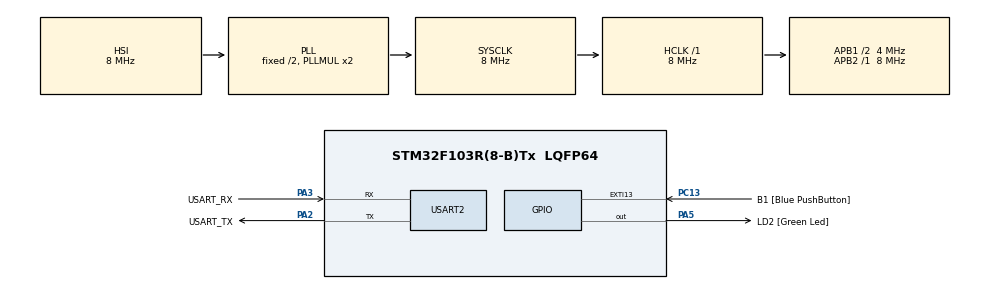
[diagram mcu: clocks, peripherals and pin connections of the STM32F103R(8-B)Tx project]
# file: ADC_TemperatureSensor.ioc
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ADC1.Channel-0\#ChannelRegularConversion=ADC_CHANNEL_TEMPSENSOR
ADC1.ContinuousConvMode=ENABLE
ADC1.NbrOfConversionFlag=1
ADC1.Rank-0\#ChannelRegularConversion=1
ADC1.SamplingTime-0\#ChannelRegularConversion=ADC_SAMPLETIME_13CYCLES_5
ADC1.master=1
Mcu.Family=STM32F1
Mcu.Name=STM32F103R(8-B)Tx
Mcu.Package=LQFP64
NVIC.EXTI15_10_IRQn=true\:0\:0\:false\:false\:true\:true\:true\:true
NVIC.PriorityGroup=NVIC_PRIORITYGROUP_4
PA13.GPIO_Label=TMS
PA13.Mode=Serial_Wire
PA13.Signal=SYS_JTMS-SWDIO
PA14.GPIO_Label=TCK
PA14.Mode=Serial_Wire
PA14.Signal=SYS_JTCK-SWCLK
PA2.GPIO_Label=USART_TX
PA2.GPIO_Mode=GPIO_MODE_AF_PP
PA2.GPIO_PuPd=GPIO_NOPULL
PA2.GPIO_Speed=GPIO_SPEED_FREQ_LOW
PA2.Mode=Asynchronous
PA2.Signal=USART2_TX
PA3.GPIO_Label=USART_RX
PA3.GPIO_Mode=GPIO_MODE_AF_PP
PA3.GPIO_PuPd=GPIO_NOPULL
PA3.GPIO_Speed=GPIO_SPEED_FREQ_LOW
PA3.Mode=Asynchronous
PA3.Signal=USART2_RX
PA5.GPIO_Label=LD2 [Green Led]
PA5.GPIO_ModeDefaultOutputPP=GPIO_MODE_OUTPUT_PP
PA5.GPIO_PuPd=GPIO_NOPULL
PA5.GPIO_Speed=GPIO_SPEED_FREQ_LOW
PA5.Signal=GPIO_Output
PB3.GPIO_Label=SWO
PB3.Signal=SYS_JTDO-TRACESWO
PC13-TAMPER-RTC.GPIO_Label=B1 [Blue PushButton]
PC13-TAMPER-RTC.GPIO_PuPd=GPIO_NOPULL
PC13-TAMPER-RTC.Signal=GPXTI13
PC14-OSC32_IN.Signal=RCC_OSC32_IN
PC15-OSC32_OUT.Signal=RCC_OSC32_OUT
PD0-OSC_IN.Signal=RCC_OSC_IN
PD1-OSC_OUT.Signal=RCC_OSC_OUT
ProjectManager.HeapSize=0x200
ProjectManager.StackSize=0x400
ProjectManager.TargetToolchain=STM32CubeIDE
RCC.AHBFreq_Value=8000000
RCC.APB1CLKDivider=RCC_HCLK_DIV2
RCC.APB1Freq_Value=4000000
RCC.APB1TimFreq_Value=8000000
RCC.APB2Freq_Value=8000000
RCC.APB2TimFreq_Value=8000000
RCC.HCLKFreq_Value=8000000
RCC.RTCClockSelection=RCC_RTCCLKSOURCE_LSE
RCC.SYSCLKFreq_VALUE=8000000
RCC.SYSCLKSource=RCC_SYSCLKSOURCE_PLLCLK
RCC.USBFreq_Value=8000000
USART2.VirtualMode=VM_ASYNC
VP_ADC1_TempSens_Input.Mode=IN-TempSens
board=NUCLEO-F103RB

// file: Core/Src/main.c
/* USER CODE BEGIN Header */
/**
  ******************************************************************************
  * @file           : main.c
  * @brief          : Main program body
  ******************************************************************************
  * @attention
  *
  * Copyright (c) 2025 STMicroelectronics.
  * All rights reserved.
  *
  * This software is licensed under terms that can be found in the LICENSE file
  * in the root directory of this software component.
  * If no LICENSE file comes with this software, it is provided AS-IS.
  *
  ******************************************************************************
  */
/* USER CODE END Header */
#include "main.h"

ADC_HandleTypeDef hadc1;

UART_HandleTypeDef huart2;

/* USER CODE BEGIN PV */
const float AVG_SLOPE = 4.3E-03;
const float V25 = 1.43;
const float ADC_TO_VOLT = 3.3 / 4096;
uint16_t adc1;
float vSense;
float temp;
/* USER CODE END PV */

void SystemClock_Config(void);
static void MX_GPIO_Init(void);
static void MX_USART2_UART_Init(void);
static void MX_ADC1_Init(void);

/* USER CODE BEGIN 0 */
#ifdef __GNUC__
#define PUTCHAR_PROTOTYPE int __io_putchar(int ch)
#else
#define PUTCHAR_PROTOTYPE int fputc(int ch, FILE *f)
#endif

PUTCHAR_PROTOTYPE
{
	if(ch == '\n')
		HAL_UART_Transmit(&huart2, (uint8_t *)"\r", 1, 0xFFFF);
		HAL_UART_Transmit(&huart2, (uint8_t *)&ch, 1, 0xFFFF);

		return ch;
}
/* USER CODE END 0 */

int main(void)
{

  /* MCU Configuration--------------------------------------------------------*/

  /* Reset of all peripherals, Initializes the Flash interface and the Systick. */
  HAL_Init();

  /* Configure the system clock */
  SystemClock_Config();

  /* Initialize all configured peripherals */
  MX_GPIO_Init();
  MX_USART2_UART_Init();
  MX_ADC1_Init();

  /* Infinite loop */
  /* USER CODE BEGIN WHILE */

  /*start calibration*/
  if (HAL_ADCEx_Calibration_Start(&hadc1) != HAL_OK)
  {
	  Error_Handler();
  }

  if(HAL_ADC_Start(&hadc1) != HAL_OK)
  {
	  Error_Handler();
  }

  while (1)
  {
	  HAL_ADC_PollForConversion(&hadc1, 100); // adc1에서 제공하는 컨버젼 함수
	  adc1 = HAL_ADC_GetValue(&hadc1); //adc1 데이터 가져오기
	  vSense = adc1 * ADC_TO_VOLT; // adc1 데이터 * (3.3 / 4096) = 센서 데이터
	  temp = (V25 - vSense) / AVG_SLOPE + 25.0; //온도 값 = (1.43 - 센서데이터) / 4.3E-03 +25.0

	  printf("ADC1 temperature : %d\r\n", temp);
    /* USER CODE END WHILE */

    /* USER CODE BEGIN 3 */
	  HAL_Delay(100);
  }
  /* USER CODE END 3 */
}

void SystemClock_Config(void)
{
  RCC_OscInitTypeDef RCC_OscInitStruct = {0};
  RCC_ClkInitTypeDef RCC_ClkInitStruct = {0};
  RCC_PeriphCLKInitTypeDef PeriphClkInit = {0};

  /** Initializes the RCC Oscillators according to the specified parameters
  * in the RCC_OscInitTypeDef structure.
  */
  RCC_OscInitStruct.OscillatorType = RCC_OSCILLATORTYPE_HSI;
  RCC_OscInitStruct.HSIState = RCC_HSI_ON;
  RCC_OscInitStruct.HSICalibrationValue = RCC_HSICALIBRATION_DEFAULT;
  RCC_OscInitStruct.PLL.PLLState = RCC_PLL_ON;
  RCC_OscInitStruct.PLL.PLLSource = RCC_PLLSOURCE_HSI_DIV2;
  RCC_OscInitStruct.PLL.PLLMUL = RCC_PLL_MUL2;
  if (HAL_RCC_OscConfig(&RCC_OscInitStruct) != HAL_OK)
  {
    Error_Handler();
  }

  /** Initializes the CPU, AHB and APB buses clocks
  */
  RCC_ClkInitStruct.ClockType = RCC_CLOCKTYPE_HCLK|RCC_CLOCKTYPE_SYSCLK
                              |RCC_CLOCKTYPE_PCLK1|RCC_CLOCKTYPE_PCLK2;
  RCC_ClkInitStruct.SYSCLKSource = RCC_SYSCLKSOURCE_PLLCLK;
  RCC_ClkInitStruct.AHBCLKDivider = RCC_SYSCLK_DIV1;
  RCC_ClkInitStruct.APB1CLKDivider = RCC_HCLK_DIV2;
  RCC_ClkInitStruct.APB2CLKDivider = RCC_HCLK_DIV1;

  if (HAL_RCC_ClockConfig(&RCC_ClkInitStruct, FLASH_LATENCY_0) != HAL_OK)
  {
    Error_Handler();
  }
  PeriphClkInit.PeriphClockSelection = RCC_PERIPHCLK_ADC;
  PeriphClkInit.AdcClockSelection = RCC_ADCPCLK2_DIV2;
  if (HAL_RCCEx_PeriphCLKConfig(&PeriphClkInit) != HAL_OK)
  {
    Error_Handler();
  }
}

static void MX_ADC1_Init(void)
{

  ADC_ChannelConfTypeDef sConfig = {0};

  /** Common config
  */
  hadc1.Instance = ADC1;
  hadc1.Init.ScanConvMode = ADC_SCAN_DISABLE;
  hadc1.Init.ContinuousConvMode = ENABLE;
  hadc1.Init.DiscontinuousConvMode = DISABLE;
  hadc1.Init.ExternalTrigConv = ADC_SOFTWARE_START;
  hadc1.Init.DataAlign = ADC_DATAALIGN_RIGHT;
  hadc1.Init.NbrOfConversion = 1;
  if (HAL_ADC_Init(&hadc1) != HAL_OK)
  {
    Error_Handler();
  }

  /** Configure Regular Channel
  */
  sConfig.Channel = ADC_CHANNEL_TEMPSENSOR;
  sConfig.Rank = ADC_REGULAR_RANK_1;
  sConfig.SamplingTime = ADC_SAMPLETIME_13CYCLES_5;
  if (HAL_ADC_ConfigChannel(&hadc1, &sConfig) != HAL_OK)
  {
    Error_Handler();
  }

}

static void MX_USART2_UART_Init(void)
{

  huart2.Instance = USART2;
  huart2.Init.BaudRate = 115200;
  huart2.Init.WordLength = UART_WORDLENGTH_8B;
  huart2.Init.StopBits = UART_STOPBITS_1;
  huart2.Init.Parity = UART_PARITY_NONE;
  huart2.Init.Mode = UART_MODE_TX_RX;
  huart2.Init.HwFlowCtl = UART_HWCONTROL_NONE;
  huart2.Init.OverSampling = UART_OVERSAMPLING_16;
  if (HAL_UART_Init(&huart2) != HAL_OK)
  {
    Error_Handler();
  }

}

static void MX_GPIO_Init(void)
{
  GPIO_InitTypeDef GPIO_InitStruct = {0};

  /* GPIO Ports Clock Enable */
  __HAL_RCC_GPIOC_CLK_ENABLE();
  __HAL_RCC_GPIOD_CLK_ENABLE();
  __HAL_RCC_GPIOA_CLK_ENABLE();
  __HAL_RCC_GPIOB_CLK_ENABLE();

  /*Configure GPIO pin Output Level */
  HAL_GPIO_WritePin(LD2_GPIO_Port, LD2_Pin, GPIO_PIN_RESET);

  /*Configure GPIO pin : B1_Pin */
  GPIO_InitStruct.Pin = B1_Pin;
  GPIO_InitStruct.Mode = GPIO_MODE_IT_RISING;
  GPIO_InitStruct.Pull = GPIO_NOPULL;
  HAL_GPIO_Init(B1_GPIO_Port, &GPIO_InitStruct);

  /*Configure GPIO pin : LD2_Pin */
  GPIO_InitStruct.Pin = LD2_Pin;
  GPIO_InitStruct.Mode = GPIO_MODE_OUTPUT_PP;
  GPIO_InitStruct.Pull = GPIO_NOPULL;
  GPIO_InitStruct.Speed = GPIO_SPEED_FREQ_LOW;
  HAL_GPIO_Init(LD2_GPIO_Port, &GPIO_InitStruct);

  /* EXTI interrupt init*/
  HAL_NVIC_SetPriority(EXTI15_10_IRQn, 0, 0);
  HAL_NVIC_EnableIRQ(EXTI15_10_IRQn);

}

void Error_Handler(void)
{
  __disable_irq();
  while (1)
  {
  }
}
